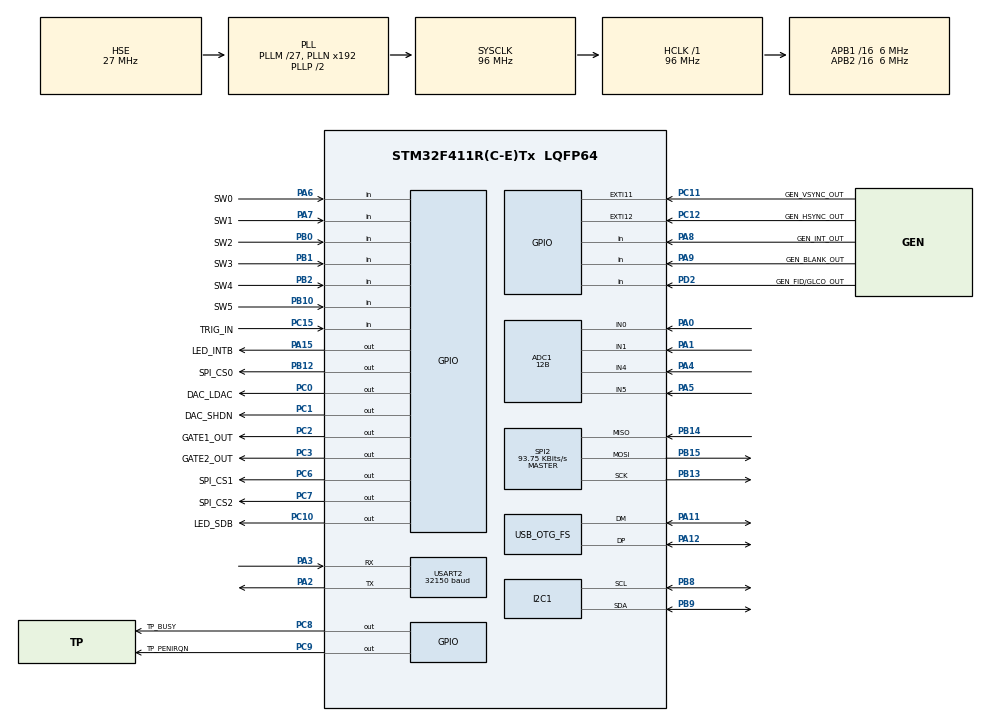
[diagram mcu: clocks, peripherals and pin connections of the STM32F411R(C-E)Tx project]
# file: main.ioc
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ADC1.Channel-0\#ChannelRegularConversion=ADC_CHANNEL_0
ADC1.Channel-4\#ChannelRegularConversion=ADC_CHANNEL_1
ADC1.Channel-5\#ChannelRegularConversion=ADC_CHANNEL_4
ADC1.Channel-6\#ChannelRegularConversion=ADC_CHANNEL_5
ADC1.ClockPrescaler=ADC_CLOCK_SYNC_PCLK_DIV8
ADC1.ContinuousConvMode=ENABLE
ADC1.DMAContinuousRequests=DISABLE
ADC1.DataAlign=ADC_DATAALIGN_RIGHT
ADC1.DiscontinuousConvMode=DISABLE
ADC1.EOCSelection=ADC_EOC_SINGLE_CONV
ADC1.EnableAnalogWatchDog=false
ADC1.ExternalTrigConv=ADC_SOFTWARE_START
ADC1.ExternalTrigConvEdge=ADC_EXTERNALTRIGCONVEDGE_NONE
ADC1.InjNumberOfConversion=0
ADC1.NbrOfConversion=4
ADC1.NbrOfConversionFlag=1
ADC1.Rank-0\#ChannelRegularConversion=1
ADC1.Rank-4\#ChannelRegularConversion=2
ADC1.Rank-5\#ChannelRegularConversion=3
ADC1.Rank-6\#ChannelRegularConversion=4
ADC1.Resolution=ADC_RESOLUTION_12B
ADC1.SamplingTime-0\#ChannelRegularConversion=ADC_SAMPLETIME_480CYCLES
ADC1.SamplingTime-4\#ChannelRegularConversion=ADC_SAMPLETIME_480CYCLES
ADC1.SamplingTime-5\#ChannelRegularConversion=ADC_SAMPLETIME_480CYCLES
ADC1.SamplingTime-6\#ChannelRegularConversion=ADC_SAMPLETIME_480CYCLES
ADC1.ScanConvMode=ENABLE
ADC1.master=1
I2C1.I2C_Mode=I2C_Fast
Mcu.Family=STM32F4
Mcu.Name=STM32F411R(C-E)Tx
Mcu.Package=LQFP64
NVIC.EXTI15_10_IRQn=true\:1\:0\:true\:true\:true\:1\:true
NVIC.OTG_FS_IRQn=true\:0\:0\:false\:true\:true\:2\:false
NVIC.PriorityGroup=NVIC_PRIORITYGROUP_4
PA0-WKUP.Signal=ADCx_IN0
PA1.Signal=ADCx_IN1
PA11.Mode=Device_Only
PA11.Signal=USB_OTG_FS_DM
PA12.Mode=Device_Only
PA12.Signal=USB_OTG_FS_DP
PA13.Mode=Trace_Asynchronous_SW
PA13.Signal=SYS_JTMS-SWDIO
PA14.Mode=Trace_Asynchronous_SW
PA14.Signal=SYS_JTCK-SWCLK
PA15.GPIO_Label=LED_INTB
PA15.Signal=GPIO_Output
PA2.Mode=Asynchronous
PA2.Signal=USART2_TX
PA3.Mode=Asynchronous
PA3.Signal=USART2_RX
PA4.Signal=ADCx_IN4
PA5.Signal=ADCx_IN5
PA6.GPIO_Label=SW0
PA6.GPIO_PuPd=GPIO_PULLUP
PA6.Signal=GPIO_Input
PA7.GPIO_Label=SW1
PA7.GPIO_PuPd=GPIO_PULLUP
PA7.Signal=GPIO_Input
PA8.GPIO_Label=GEN_INT_OUT
PA8.Signal=GPIO_Input
PA9.GPIO_Label=GEN_BLANK_OUT
PA9.Signal=GPIO_Input
PB0.GPIO_Label=SW2
PB0.GPIO_PuPd=GPIO_PULLUP
PB0.Signal=GPIO_Input
PB1.GPIO_Label=SW3
PB1.GPIO_PuPd=GPIO_PULLUP
PB1.Signal=GPIO_Input
PB10.GPIO_Label=SW5
PB10.GPIO_PuPd=GPIO_PULLUP
PB10.Signal=GPIO_Input
PB12.GPIO_Label=SPI_CS0
PB12.GPIO_Speed=GPIO_SPEED_FREQ_HIGH
PB12.PinState=GPIO_PIN_RESET
PB12.Signal=GPIO_Output
PB13.GPIO_PuPd=GPIO_NOPULL
PB13.Mode=Full_Duplex_Master
PB13.Signal=SPI2_SCK
PB14.GPIO_PuPd=GPIO_NOPULL
PB14.Mode=Full_Duplex_Master
PB14.Signal=SPI2_MISO
PB15.GPIO_PuPd=GPIO_NOPULL
PB15.Mode=Full_Duplex_Master
PB15.Signal=SPI2_MOSI
PB2.GPIO_Label=SW4
PB2.GPIO_PuPd=GPIO_PULLUP
PB2.Signal=GPIO_Input
PB3.Mode=Trace_Asynchronous_SW
PB3.Signal=SYS_JTDO-SWO
PB8.GPIO_PuPdOD=GPIO_NOPULL
PB8.Mode=I2C
PB8.Signal=I2C1_SCL
PB9.GPIO_PuPdOD=GPIO_NOPULL
PB9.Mode=I2C
PB9.Signal=I2C1_SDA
PC0.GPIO_Label=DAC_LDAC
PC0.Signal=GPIO_Output
PC1.GPIO_Label=DAC_SHDN
PC1.Signal=GPIO_Output
PC10.GPIO_Label=LED_SDB
PC10.Signal=GPIO_Output
PC11.GPIO_Label=GEN_VSYNC_OUT
PC11.GPIO_ModeDefaultEXTI=GPIO_MODE_IT_FALLING
PC11.Signal=GPXTI11
PC12.GPIO_Label=GEN_HSYNC_OUT
PC12.GPIO_ModeDefaultEXTI=GPIO_MODE_IT_FALLING
PC12.Signal=GPXTI12
PC15-OSC32_OUT.GPIO_Label=TRIG_IN
PC15-OSC32_OUT.Signal=GPIO_Input
PC2.GPIO_Label=GATE1_OUT
PC2.Signal=GPIO_Output
PC3.GPIO_Label=GATE2_OUT
PC3.Signal=GPIO_Output
PC6.GPIO_Label=SPI_CS1
PC6.GPIO_Speed=GPIO_SPEED_FREQ_HIGH
PC6.PinState=GPIO_PIN_RESET
PC6.Signal=GPIO_Output
PC7.GPIO_Label=SPI_CS2
PC7.GPIO_Speed=GPIO_SPEED_FREQ_HIGH
PC7.PinState=GPIO_PIN_RESET
PC7.Signal=GPIO_Output
PC8.GPIO_Label=TP_BUSY
PC8.GPIO_ModeDefaultOutputPP=GPIO_MODE_OUTPUT_PP
PC8.GPIO_Speed=GPIO_SPEED_FREQ_HIGH
PC8.PinState=GPIO_PIN_RESET
PC8.Signal=GPIO_Output
PC9.GPIO_Label=TP_PENIRQN
PC9.GPIO_Speed=GPIO_SPEED_FREQ_HIGH
PC9.Signal=GPIO_Output
PD2.GPIO_Label=GEN_FID/GLCO_OUT
PD2.Signal=GPIO_Input
PH0\ -\ OSC_IN.Mode=HSE-External-Clock-Source
PH0\ -\ OSC_IN.Signal=RCC_OSC_IN
PH1\ -\ OSC_OUT.Mode=HSE-External-Clock-Source
PH1\ -\ OSC_OUT.Signal=RCC_OSC_OUT
ProjectManager.HeapSize=0x200
ProjectManager.StackSize=0x400
ProjectManager.TargetToolchain=Other Toolchains (GPDSC)
RCC.48MHZClocksFreq_Value=48000000
RCC.AHBFreq_Value=96000000
RCC.APB1CLKDivider=RCC_HCLK_DIV16
RCC.APB1Freq_Value=6000000
RCC.APB1TimFreq_Value=12000000
RCC.APB2CLKDivider=RCC_HCLK_DIV16
RCC.APB2Freq_Value=6000000
RCC.APB2TimFreq_Value=12000000
RCC.CortexFreq_Value=96000000
RCC.HCLKFreq_Value=96000000
RCC.HSE_Timout=100000
RCC.HSE_VALUE=27000000
RCC.HSI_VALUE=16000000
RCC.LSEState=RCC_LSE_BYPASS
RCC.LSE_VALUE=32768
RCC.PLLM=27
RCC.RCC_TIM_PRescaler_Selection=RCC_TIMPRES_DESACTIVATED
RCC.SYSCLKFreq_VALUE=96000000
RCC.SYSCLKSource=RCC_SYSCLKSOURCE_PLLCLK
RCC.VCOOutputFreq_Value=192000000
SH.ADCx_IN0.0=ADC1_IN0,IN0
SH.ADCx_IN1.0=ADC1_IN1,IN1
SH.ADCx_IN4.0=ADC1_IN4,IN4
SH.ADCx_IN5.0=ADC1_IN5,IN5
SPI2.BaudRatePrescaler=SPI_BAUDRATEPRESCALER_64
SPI2.CLKPhase=SPI_PHASE_2EDGE
SPI2.CLKPolarity=SPI_POLARITY_HIGH
SPI2.CalculateBaudRate=93.75 KBits/s
SPI2.Direction=SPI_DIRECTION_2LINES
SPI2.Mode=SPI_MODE_MASTER
SPI2.VirtualType=VM_MASTER
USART2.BaudRate=32150
USART2.Mode=MODE_TX
USART2.VirtualMode=VM_ASYNC
USB_DEVICE.CLASS_NAME_FS=DFU
USB_DEVICE.VirtualMode=Dfu
USB_DEVICE.VirtualModeFS=Dfu_FS
USB_OTG_FS.VirtualMode=Device_Only
VP_USB_DEVICE_VS_USB_DEVICE_DFU_FS.Mode=DFU_FS
board=custom

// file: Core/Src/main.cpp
/**
  ******************************************************************************
  * @file           : main.c
  * @brief          : Main program body
  ******************************************************************************
  * This notice applies to any and all portions of this file
  * that are not between comment pairs USER CODE BEGIN and
  * USER CODE END. Other portions of this file, whether
  * inserted by the user or by software development tools
  * are owned by their respective copyright owners.
  *
  * Copyright (c) 2018 STMicroelectronics International N.V.
  * All rights reserved.
  *
  * Redistribution and use in source and binary forms, with or without
  * modification, are permitted, provided that the following conditions are met:
  *
  * 1. Redistribution of source code must retain the above copyright notice,
  *    this list of conditions and the following disclaimer.
  * 2. Redistributions in binary form must reproduce the above copyright notice,
  *    this list of conditions and the following disclaimer in the documentation
  *    and/or other materials provided with the distribution.
  * 3. Neither the name of STMicroelectronics nor the names of other
  *    contributors to this software may be used to endorse or promote products
  *    derived from this software without specific written permission.
  * 4. This software, including modifications and/or derivative works of this
  *    software, must execute solely and exclusively on microcontroller or
  *    microprocessor devices manufactured by or for STMicroelectronics.
  * 5. Redistribution and use of this software other than as permitted under
  *    this license is void and will automatically terminate your rights under
  *    this license.
  *
  * THIS SOFTWARE IS PROVIDED BY STMICROELECTRONICS AND CONTRIBUTORS "AS IS"
  * AND ANY EXPRESS, IMPLIED OR STATUTORY WARRANTIES, INCLUDING, BUT NOT
  * LIMITED TO, THE IMPLIED WARRANTIES OF MERCHANTABILITY, FITNESS FOR A
  * PARTICULAR PURPOSE AND NON-INFRINGEMENT OF THIRD PARTY INTELLECTUAL PROPERTY
  * RIGHTS ARE DISCLAIMED TO THE FULLEST EXTENT PERMITTED BY LAW. IN NO EVENT
  * SHALL STMICROELECTRONICS OR CONTRIBUTORS BE LIABLE FOR ANY DIRECT, INDIRECT,
  * INCIDENTAL, SPECIAL, EXEMPLARY, OR CONSEQUENTIAL DAMAGES (INCLUDING, BUT NOT
  * LIMITED TO, PROCUREMENT OF SUBSTITUTE GOODS OR SERVICES; LOSS OF USE, DATA,
  * OR PROFITS; OR BUSINESS INTERRUPTION) HOWEVER CAUSED AND ON ANY THEORY OF
  * LIABILITY, WHETHER IN CONTRACT, STRICT LIABILITY, OR TORT (INCLUDING
  * NEGLIGENCE OR OTHERWISE) ARISING IN ANY WAY OUT OF THE USE OF THIS SOFTWARE,
  * EVEN IF ADVISED OF THE POSSIBILITY OF SUCH DAMAGE.
  *
  ******************************************************************************
  */

#include "main.h"
#include "stm32f4xx_hal.h"
#include "adc.h"
#include "i2c.h"
#include "spi.h"
#include "usart.h"
#include "usb_device.h"
#include "gpio.h"

/* USER CODE BEGIN Includes */

#include <math.h>
#include <string>
#include "eeprom.h"
#include <stdio.h>
#include "calibrate.h"

/* USER CODE END Includes */

/* USER CODE BEGIN PV */
/* Private variables ---------------------------------------------------------*/
#define DEBUG 0
#define TOUCHPANEL_X_RESISTANCE_MIN 290
#define TOUCHPANEL_X_RESISTANCE_MAX 530
#define TOUCHPANEL_Y_RESISTANCE_MIN 500
#define TOUCHPANEL_Y_RESISTANCE_MAX 930
#define MAIN_DEBUG 1
#define POTENTIOMETER_ADC_MAX 2898
#define IS32FL3738_ADDRESS_A 0x50 << 1
#define IS32FL3738_ADDRESS_B 0x5F << 1
#define IS32FL3738_ADDRESS_C 0x55 << 1
#define IS32FL3738_ADDRESS_D 0x5A << 1
#define IS32FL3738_NUM_LEDS	48
#define DISPLAY_NUM_LEDS (IS32FL3738_NUM_LEDS*4)
#define DISPLAY_WIDTH	96
#define DISPLAY_HEIGHT	72
#define SAMPLE_BUFFER_SIZE 4096*4

#define TOUCHPANEL_THRESHOLD 750
#define TOUCHPANEL_BOUNDS_X_MIN 450
#define TOUCHPANEL_BOUNDS_X_MAX 3945
#define TOUCHPANEL_BOUNDS_Y_MIN 450
#define TOUCHPANEL_BOUNDS_Y_MAX 3714
#define	MAX_CAL_SAMPLES 3

enum
{
	kSensitivity       = 0,
	kPlaybackSpeed,
	kGateThreshold,
	kSmoothing,
	NUM_POTENTIOMETERS
}
;

enum
{
	kRecord     = 0,
	kGate1,
	kConstrain,
	kGate2,
	kPlay,
	kLoop,
	kTriggerIn,
	NUM_BUTTONS
};

enum
{
	kGate2Out = 0,
	kGate1Out,
	NUM_GATES
};

enum
{
	kXOut        = 0,
	kYOut,
	kVelocityOut,
	kPressureOut,
	NUM_DACS
};

enum
{
	kVar1    = 0,
	kVar2,
	kVar3,
	kVar4,
	NUM_VARS
};

struct PotentiometerConfig
{
	std::string name;
	uint16_t value;
};

struct ButtonConfig
{
	std::string name;
	uint8_t value;
	uint8_t last;
	uint8_t rising;
	uint8_t falling;
};

struct GateConfig
{
	std::string name;
	uint8_t value;
	uint8_t last;
};

struct DACConfig
{
	std::string name;
	uint16_t value;
};

struct VarConfig
{
	std::string name;
	uint32_t address;
	uint32_t value;
};

struct TouchpanelData
{
	uint16_t x;
	uint16_t y;
	uint16_t z1;
	uint16_t z2;
	uint16_t pressure;
};

struct LEDConfig
{
	uint8_t brightness;
	uint8_t lastBrightness;
};

struct XYZPoint
{
	uint16_t x;
	uint16_t y;
	uint16_t z;
};

PotentiometerConfig pots[NUM_POTENTIOMETERS] = {
	{ "Sensitivity", 0 },
	{ "Gate Threshold", 0 },
	{ "Smoothing", 0 },
	{ "Playback Speed", 0 }
};

ButtonConfig buttons[NUM_BUTTONS] = {
	{ "Record", 0 },
	{ "Gate 1", 0 },
	{ "Constrain", 0 },
	{ "Gate2", 0 },
	{ "Play", 0 },
	{ "Loop", 0 },
	{ "Trigger In", 0 }
};

GateConfig gates[NUM_GATES] = {
	{ "Gate 2 Out", 0 },
	{ "Gate 1 Out", 0 }
};

DACConfig dacs[NUM_DACS] = {
	{ "X Out", 0 },
	{ "Y Out", 0 },
	{ "Velocity Out", 0 },
	{ "Pressure Out", 0 }
};

VarConfig vars[NUM_VARS] = {
	{ "Var 1", 100 },
	{ "Var 2", 200 },
	{ "Var 3", 300 },
	{ "Var 4", 400 }
};

TouchpanelData touchpanel;
ADC_HandleTypeDef hadc1;
I2C_HandleTypeDef hi2c1;
SPI_HandleTypeDef hspi2;
UART_HandleTypeDef huart2;
XYZPoint point;
XYZPoint lastpoint;
XYZPoint samples[SAMPLE_BUFFER_SIZE];

LEDConfig leds[192];
uint8_t i2cData[2];
uint32_t sample_end;
uint32_t sample_counter;
uint32_t sample_counter_hires;
uint8_t playback=0;
uint8_t loop = 0;
uint8_t cutin = 0;
uint8_t recording=0;
uint8_t pentouch = 0;
double lastdistance;
double newdistance;
uint32_t tempx_filtered;
uint32_t tempy_filtered;
uint32_t tempx[6];
uint32_t tempy[6];
uint32_t tempz1[6];
uint32_t tempz2[6];

uint8_t constrainmode;

uint32_t sample_x;
uint32_t sample_y;
uint32_t sample_z1;
uint32_t sample_z2;

uint16_t CalX1;
uint16_t CalY1;
uint16_t CalZ1;
uint16_t CalX2;
uint16_t CalY2;
uint16_t CalZ2;
uint16_t CalX3;
uint16_t CalY3;
uint16_t CalZ3;

int32_t rtouch;

uint32_t lastmidipointx;
uint32_t lastmidipointy;
uint32_t lastmidipointz;

uint32_t velocity;
uint32_t lastvelocity;

//uint32_t VirtAddVarTab[NB_OF_VAR] = { 0x111, 0x222, 0x333, 0x555, 0x666, 0x777, 0x888, 0x999, 0xAAA };
uint32_t VirtAddVarTab[NB_OF_VAR] = { 0x1111, 0x2222, 0x3333, 0x5555, 0x6666, 0x7777 };
uint8_t fsync_event = 0;
uint8_t vsync_event = 0;
uint8_t hsync_event = 0;
uint32_t idlecounter = 0;
uint32_t dactestcnt = 0;

POINT perfectDisplaySample[MAX_CAL_SAMPLES] = {
	{ 0, 1023 },
	{ 1023, 0 },
	{ 0, 0 }
	//{ 63, 1023-64 },
	//{ 1023-64, 63 },
	//{ 1023 - 64, 1023 - 64 }
};

POINT perfectScreenSample[MAX_CAL_SAMPLES] = {
	{ perfectDisplaySample[0].x, perfectDisplaySample[0].y },
	{ perfectDisplaySample[1].x, perfectDisplaySample[1].y },
	{ perfectDisplaySample[2].x, perfectDisplaySample[2].y },
};

POINT calDisplaySample[MAX_CAL_SAMPLES] = {
	{ perfectDisplaySample[0].x, perfectDisplaySample[0].y },
	{ perfectDisplaySample[1].x, perfectDisplaySample[1].y },
	{ perfectDisplaySample[2].x, perfectDisplaySample[2].y },
};

POINT calScreenSample[MAX_CAL_SAMPLES] = {
	{ perfectDisplaySample[0].x, perfectDisplaySample[0].y },
	{ perfectDisplaySample[1].x, perfectDisplaySample[1].y },
	{ perfectDisplaySample[2].x, perfectDisplaySample[2].y },
};

MATRIX  calmatrix;

static const uint8_t display_address[4] = { IS32FL3738_ADDRESS_A, IS32FL3738_ADDRESS_B, IS32FL3738_ADDRESS_C, IS32FL3738_ADDRESS_D };

static const uint8_t display_pwm_startreg[48] = {
	0x00,
	0x20,
	0x40,
	0x60,
	0x80,
	0xA0,
	0x02,
	0x22,
	0x42,
	0x62,
	0x82,
	0xA2,
	0x04,
	0x24,
	0x44,
	0x64,
	0x84,
	0xA4,
	0x06,
	0x26,
	0x46,
	0x66,
	0x86,
	0xA6,
	0x08,
	0x28,
	0x48,
	0x68,
	0x88,
	0xA8,
	0x0A,
	0x2A,
	0x4A,
	0x6A,
	0x8A,
	0xAA,
	0x0C,
	0x2C,
	0x4C,
	0x6C,
	0x8C,
	0xAC,
	0x0E,
	0x2E,
	0x4E,
	0x6E,
	0x8E,
	0xAE
};

static const uint8_t displayledonreg[24] = {
	0x00,
	0x04,
	0x08,
	0x0C,
	0x10,
	0x14,
	0x01,
	0x05,
	0x09,
	0x0D,
	0x11,
	0x15
};

static const uint8_t gamma8[256] = {
	0,
	0,
	0,
	0,
	0,
	0,
	0,
	0,
	0,
	0,
	0,
	0,
	0,
	0,
	0,
	0,
	0,
	0,
	0,
	0,
	0,
	0,
	0,
	0,
	0,
	0,
	0,
	0,
	1,
	1,
	1,
	1,
	1,
	1,
	1,
	1,
	1,
	1,
	1,
	1,
	1,
	2,
	2,
	2,
	2,
	2,
	2,
	2,
	2,
	3,
	3,
	3,
	3,
	3,
	3,
	3,
	4,
	4,
	4,
	4,
	4,
	5,
	5,
	5,
	5,
	6,
	6,
	6,
	6,
	7,
	7,
	7,
	7,
	8,
	8,
	8,
	9,
	9,
	9,
	10,
	10,
	10,
	11,
	11,
	11,
	12,
	12,
	13,
	13,
	13,
	14,
	14,
	15,
	15,
	16,
	16,
	17,
	17,
	18,
	18,
	19,
	19,
	20,
	20,
	21,
	21,
	22,
	22,
	23,
	24,
	24,
	25,
	25,
	26,
	27,
	27,
	28,
	29,
	29,
	30,
	31,
	32,
	32,
	33,
	34,
	35,
	35,
	36,
	37,
	38,
	39,
	39,
	40,
	41,
	42,
	43,
	44,
	45,
	46,
	47,
	48,
	49,
	50,
	50,
	51,
	52,
	54,
	55,
	56,
	57,
	58,
	59,
	60,
	61,
	62,
	63,
	64,
	66,
	67,
	68,
	69,
	70,
	72,
	73,
	74,
	75,
	77,
	78,
	79,
	81,
	82,
	83,
	85,
	86,
	87,
	89,
	90,
	92,
	93,
	95,
	96,
	98,
	99,
	101,
	102,
	104,
	105,
	107,
	109,
	110,
	112,
	114,
	115,
	117,
	119,
	120,
	122,
	124,
	126,
	127,
	129,
	131,
	133,
	135,
	137,
	138,
	140,
	142,
	144,
	146,
	148,
	150,
	152,
	154,
	156,
	158,
	160,
	162,
	164,
	167,
	169,
	171,
	173,
	175,
	177,
	180,
	182,
	184,
	186,
	189,
	191,
	193,
	196,
	198,
	200,
	203,
	205,
	208,
	210,
	213,
	215,
	218,
	220,
	223,
	225,
	228,
	231,
	233,
	236,
	239,
	241,
	244,
	247,
	249,
	252,
	255
};
/* USER CODE END PV */

void SystemClock_Config(void);
static void MX_NVIC_Init(void);

/* USER CODE BEGIN PFP */
/* Private function prototypes -----------------------------------------------*/

void Display_Init(void);
void Pots_Poll(void);
void Buttons_Poll(void);
void Touchpanel_Poll(void);
void Touchpanel_Calibration_Init(void);
void StartupAnimation(void);
void Display_Refresh(void);
void Gates_Refresh(void);
void DAC_Refresh(void);
void Display_BlinkOn(void);
void Display_BlinkOff(void);
void Display_Crosshair(uint32_t TargetX, uint32_t TargetY, uint32_t Span);
void I2C_WriteRegister(uint32_t address, uint8_t byte1, uint8_t byte2);
void Calculate_Smoothing(void);
void Calculate_Sensitivity(void);
void TVP5150AM1_Setup(void);
void MIDI_CC_HiRes_Transmit(uint8_t channel, uint8_t ctrlchange, uint32_t value);
void MIDI_CC_Transmit(uint8_t channel, uint8_t ctrlchange, uint32_t value);
void MIDI_NoteOn_Transmit(uint8_t channel, uint8_t note, uint8_t velocity);
void MIDI_NoteOff_Transmit(uint8_t channel, uint8_t note, uint8_t velocity);

/* USER CODE END PFP */

int main(void)
{

	/* MCU Configuration----------------------------------------------------------*/

	/* Reset of all peripherals, Initializes the Flash interface and the Systick. */
	HAL_Init();

	/* USER CODE BEGIN Init */
	HAL_Delay(200);
	/* USER CODE END Init */

	/* Configure the system clock */
	SystemClock_Config();

	/* Initialize all configured peripherals */
	MX_GPIO_Init();
	MX_ADC1_Init();
	MX_I2C1_Init();
	MX_SPI2_Init();
	MX_USART2_UART_Init();
	MX_USB_DEVICE_Init();

	 /* Initialize interrupts */
            	MX_NVIC_Init();
	/* USER CODE BEGIN 2 */

	//Initialize infinity mirror display
	Display_Init();

	//Unlock flash and initialize EEPROM emulation
	//HAL_FLASH_Unlock();
	//uint32_t status;
	//status = EE_Init();

	//Initialize touchpanel calibration
	Touchpanel_Calibration_Init();

	StartupAnimation();

	touchpanel.x = 0;
	touchpanel.y = 0;
	TVP5150AM1_Setup();
	/* USER CODE END 2 */

	/* Infinite loop */
	/* USER CODE BEGIN WHILE */
	while (1)
	{
		if (fsync_event>=1)
		{
			fsync_event = 0;
			idlecounter = 0;
			if (DEBUG)
			{
				gates[kGate1Out].value = 1;
			}
			Gates_Refresh();

			DAC_Refresh();

			//Polling
			Pots_Poll();
			Buttons_Poll();
			Touchpanel_Poll();
			//Calculate_Sensitivity();
			if (buttons[kConstrain].value)
			{
				if (buttons[kConstrain].rising)
				{
					int32_t xdist = (lastpoint.x - touchpanel.x);
					int32_t ydist = (lastpoint.y - touchpanel.y);
					if (xdist < 0)
					{
						xdist = -xdist;
					}
					if (ydist < 0)
					{
						ydist = -ydist;
					}

					if (xdist >= ydist)
					{
						constrainmode = 1;
					}
					else
					{
						constrainmode = 0;
					}
					buttons[kConstrain].rising = 0;
				}
				if (constrainmode)
				{
					touchpanel.y = lastpoint.y;
				}
				else
				{
					touchpanel.x = lastpoint.x;
				}
			}

			//Process button events
			if(buttons[kPlay].rising)
			{
				if (playback)
				{
					playback = 0;
					touchpanel.x = samples[sample_counter].x;
					touchpanel.y = samples[sample_counter].y;
					touchpanel.pressure = samples[sample_counter].z;
				}
				else
				{
					//sample_counter = 0;
					sample_counter_hires = 0;
					playback = 1;
					recording = 0;

				}
				buttons[kPlay].rising = 0;
			}

			if (buttons[kTriggerIn].rising)
			{
				sample_counter_hires = 0;
				playback = 1;
				recording = 0;
				buttons[kTriggerIn].rising = 0;
			}

			if (buttons[kLoop].rising)
			{
				if (loop)
				{
					loop = 0;
				}
				else
				{
					loop = 1;
				}
				buttons[kLoop].rising = 0;
			}

			if (buttons[kRecord].rising)
			{
				if (!playback)
				{
					cutin = 0;
					//sample_counter = 0;
					sample_counter_hires = 0;
				}
				else
				{
					cutin = 1;
				}
				recording = 1;
				playback = 0;
				buttons[kRecord].rising = 0;
			}
			else if (buttons[kRecord].falling)
			{
				recording = 0;
				if (!cutin)
				{

					sample_end = sample_counter - 1;
					//sample_counter = 0;
					sample_counter_hires = 0;
				}
				else
				{
					playback = 1;
				}

				buttons[kRecord].falling = 0;
			}

			//Assign points
			sample_counter = sample_counter_hires >> 11;
			if (playback)
			{
				uint32_t interpolation_coeff = sample_counter_hires % 2048;
				point.x = ((samples[sample_counter].x * (interpolation_coeff)) + (samples[(sample_end + sample_counter - 1) % sample_end].x * (2047 - interpolation_coeff))) >> 11;
				point.y = ((samples[sample_counter].y * (interpolation_coeff)) + (samples[(sample_end + sample_counter - 1) % sample_end].y * (2047 - interpolation_coeff))) >> 11;
				point.z = ((samples[sample_counter].z * (interpolation_coeff)) + (samples[(sample_end + sample_counter - 1) % sample_end].z * (2047 - interpolation_coeff))) >> 11;
				sample_counter_hires += (256 + pots[kPlaybackSpeed].value);
				if (sample_counter_hires > (sample_end << 11))
				{
					if (loop)
					{
						sample_counter_hires = sample_counter_hires % (sample_end << 11);
					}
					else
					{
						playback = 0;
					}
				}
			}
			else if (recording && sample_counter < SAMPLE_BUFFER_SIZE)
			{
				point.x = touchpanel.x;
				point.y = touchpanel.y;
				point.z = touchpanel.pressure;
				samples[sample_counter].x = touchpanel.x;
				samples[sample_counter].y = touchpanel.y;
				samples[sample_counter].z = touchpanel.pressure;
				if (cutin)
				{
					sample_counter_hires += 2048;
					if (sample_counter_hires > (sample_end << 11))
					{
						sample_counter_hires = sample_counter_hires % (sample_end << 11);
					}
				}
				else
				{
					sample_counter_hires += 2048;
				}
			}
			else
			{
				point.x = touchpanel.x;
				point.y = touchpanel.y;
				point.z = touchpanel.pressure;
			}

			Calculate_Smoothing();

			uint8_t pressuregate = 0;
			if (point.z > pots[kGateThreshold].value)
			{
				pressuregate = 1;
			}

			//Assign outputs

			dacs[kXOut].value = (uint16_t)4095&point.x;
			dacs[kYOut].value = (uint16_t)4095&point.y;

			dacs[kPressureOut].value = (uint16_t)4095&point.z;
			//dacs[kVelocityOut].value =  4095&(uint32_t)lastdistance;
			if(velocity > 4095)
			{
				velocity = 4095;
			}
			dacs[kVelocityOut].value =  (uint32_t)velocity;
			gates[kGate1Out].value = buttons[kGate1].value;
			gates[kGate2Out].value = pressuregate ^ buttons[kGate2].value;

			//Refresh
			Display_Crosshair(point.x, point.y, ((point.z*4)>>12)+1);
			Display_Refresh();

			if (point.x != lastmidipointx)
			{
				MIDI_CC_HiRes_Transmit(0, 10, point.x);
				//MIDI_CC_Transmit(0, 10, point.x);
				lastmidipointx = point.x;
			}
			if (point.y != lastmidipointy)
			{
				MIDI_CC_HiRes_Transmit(0, 11, point.y);
				//MIDI_CC_Transmit(0, 11, point.y);
				lastmidipointy = point.y;
			}
			if (point.z != lastmidipointz)
			{
				MIDI_CC_HiRes_Transmit(0, 12, point.z);
				//MIDI_CC_Transmit(0, 12, point.z);
				lastmidipointz = point.z;
			}

			if (gates[kGate1Out].value && !gates[kGate1Out].last)
			{
				MIDI_NoteOn_Transmit(0, 63, 0xFF);
			}
			else if (!gates[kGate1Out].value && gates[kGate1Out].last)
			{
				MIDI_NoteOn_Transmit(0, 63, 0x00);
			}
			if (gates[kGate2Out].value && !gates[kGate2Out].last)
			{
				MIDI_NoteOn_Transmit(0, 64, 0xFF);
			}
			else if (!gates[kGate2Out].value && gates[kGate2Out].last)
			{
				MIDI_NoteOn_Transmit(0, 64, 0x00);
			}

			gates[kGate1Out].last = gates[kGate1Out].value;
			gates[kGate2Out].last = gates[kGate2Out].value;
			if (DEBUG)
			{
				gates[kGate1Out].value = 0;
				Gates_Refresh();
			}

			/* USER CODE END WHILE */

		}
	}
}

void SystemClock_Config(void)
{

	RCC_OscInitTypeDef RCC_OscInitStruct;
	RCC_ClkInitTypeDef RCC_ClkInitStruct;

	/**Configure the main internal regulator output voltage
	*/
	__HAL_RCC_PWR_CLK_ENABLE();

	__HAL_PWR_VOLTAGESCALING_CONFIG(PWR_REGULATOR_VOLTAGE_SCALE1);

	/**Initializes the CPU, AHB and APB busses clocks
	*/
	RCC_OscInitStruct.OscillatorType = RCC_OSCILLATORTYPE_HSE;
	RCC_OscInitStruct.HSEState = RCC_HSE_BYPASS;
	RCC_OscInitStruct.PLL.PLLState = RCC_PLL_ON;
	RCC_OscInitStruct.PLL.PLLSource = RCC_PLLSOURCE_HSE;
	RCC_OscInitStruct.PLL.PLLM = 27;
	RCC_OscInitStruct.PLL.PLLN = 192;
	RCC_OscInitStruct.PLL.PLLP = RCC_PLLP_DIV2;
	RCC_OscInitStruct.PLL.PLLQ = 4;
	if (HAL_RCC_OscConfig(&RCC_OscInitStruct) != HAL_OK)
	{
		_Error_Handler(__FILE__, __LINE__);
	}

	/**Initializes the CPU, AHB and APB busses clocks
	*/
	RCC_ClkInitStruct.ClockType = RCC_CLOCKTYPE_HCLK | RCC_CLOCKTYPE_SYSCLK
	                            | RCC_CLOCKTYPE_PCLK1 | RCC_CLOCKTYPE_PCLK2;
	RCC_ClkInitStruct.SYSCLKSource = RCC_SYSCLKSOURCE_PLLCLK;
	RCC_ClkInitStruct.AHBCLKDivider = RCC_SYSCLK_DIV1;
	RCC_ClkInitStruct.APB1CLKDivider = RCC_HCLK_DIV16;
	RCC_ClkInitStruct.APB2CLKDivider = RCC_HCLK_DIV16;

	if (HAL_RCC_ClockConfig(&RCC_ClkInitStruct, FLASH_LATENCY_3) != HAL_OK)
	{
		_Error_Handler(__FILE__, __LINE__);
	}

	/**Configure the Systick interrupt time
	*/
	HAL_SYSTICK_Config(HAL_RCC_GetHCLKFreq() / 1000);

	/**Configure the Systick
	*/
	HAL_SYSTICK_CLKSourceConfig(SYSTICK_CLKSOURCE_HCLK);

	/* SysTick_IRQn interrupt configuration */
	HAL_NVIC_SetPriority(SysTick_IRQn, 0, 0);
}

/**
  * @brief NVIC Configuration.
  * @retval None
  */
static void MX_NVIC_Init(void)
{
	/* EXTI15_10_IRQn interrupt configuration */
	HAL_NVIC_SetPriority(EXTI15_10_IRQn, 1, 0);
	HAL_NVIC_EnableIRQ(EXTI15_10_IRQn);
	/* OTG_FS_IRQn interrupt configuration */
	HAL_NVIC_SetPriority(OTG_FS_IRQn, 0, 0);
	HAL_NVIC_EnableIRQ(OTG_FS_IRQn);
}

/* USER CODE BEGIN 4 */

void TVP5150AM1_Setup(void)
{
	uint8_t decoder_address = 0xBA; //I2CSEL = HIGH
	I2C_WriteRegister(decoder_address, 0x03, 0b00000101); // Enable sync outputs
	I2C_WriteRegister(decoder_address, 0x0F, 0b00000000); // Enable FID output/Disable GLCO output
}

void MIDI_CC_HiRes_Transmit(uint8_t channel, uint8_t ctrlchange, uint32_t value)
{

	uint8_t buffer[] = { 0xB0 | (channel & 0xF), ctrlchange & 127, (value >> 5) & 127, 0xB0 | (channel & 0xF), (ctrlchange+32) & 127, (value << 2) & 127 };
	HAL_UART_Transmit(&huart2, buffer, sizeof(buffer), HAL_MAX_DELAY);
}

void MIDI_CC_Transmit(uint8_t channel, uint8_t ctrlchange, uint32_t value)
{

	uint8_t buffer[] = { 0xB0 | (channel & 0xF), ctrlchange & 127, (value >> 5) & 127 };
	HAL_UART_Transmit(&huart2, buffer, sizeof(buffer), HAL_MAX_DELAY);
}

void MIDI_NoteOn_Transmit(uint8_t channel, uint8_t note, uint8_t velocity)
{
	uint8_t buffer[3] = { (0x90) | (channel & 0xF), note & 127, velocity & 127 };
	HAL_UART_Transmit(&huart2, buffer, sizeof(buffer), HAL_MAX_DELAY);
}
void MIDI_NoteOff_Transmit(uint8_t channel, uint8_t note, uint8_t velocity)
{
	uint8_t buffer[3] = { (0x80) | (channel & 0xF), note & 127, velocity & 127 };
	HAL_UART_Transmit(&huart2, buffer, sizeof(buffer), HAL_MAX_DELAY);
}

void I2C_WriteRegister(uint32_t address, uint8_t byte1, uint8_t byte2)
{
	i2cData[0] = byte1;
	i2cData[1] = byte2;
	HAL_I2C_Master_Transmit(&hi2c1, address, i2cData, 2, 100);
}

void Touchpanel_Calibration_Init(void)
{

	/*Buttons_Poll();
	if (buttons[kGate1].value && buttons[kGate2].value)
	{
		setCalibrationMatrix(&perfectDisplaySample[0], &perfectScreenSample[0], &calmatrix);

		uint8_t lastpentouch = 0;
		uint8_t cal_stage = 0;
		uint32_t increment = 4095 >> 3;

		Display_BlinkOn();

		while (1)
		{
			switch (cal_stage)
			{

			case 0: Display_Crosshair(perfectDisplaySample[0].x << 2, perfectDisplaySample[0].y << 2, 1); break;
			case 1: Display_Crosshair(perfectDisplaySample[1].x << 2, perfectDisplaySample[1].y << 2, 1); break;
			case 2: Display_Crosshair(perfectDisplaySample[2].x << 2, perfectDisplaySample[2].y << 2, 1); break;
			}

			Display_Refresh();
			lastpentouch = pentouch;
			Touchpanel_Poll();

			if (pentouch == 0 && lastpentouch == 1)
			{
				cal_stage++;
			} else
			{
				switch (cal_stage)
				{
				case 0:	EE_WriteVariable(VirtAddVarTab[kEEPROM_X1], touchpanel.x);
					EE_WriteVariable(VirtAddVarTab[kEEPROM_Y1], touchpanel.y);
					//EE_WriteVariable(VirtAddVarTab[kEEPROM_Z1], (uint16_t)rtouch);
					break;
				case 1: EE_WriteVariable(VirtAddVarTab[kEEPROM_X2], touchpanel.x);
					EE_WriteVariable(VirtAddVarTab[kEEPROM_Y2], touchpanel.y);
					//EE_WriteVariable(VirtAddVarTab[kEEPROM_Z2], (uint16_t)rtouch);

					break;
				case 2: EE_WriteVariable(VirtAddVarTab[kEEPROM_X3], touchpanel.x);
					EE_WriteVariable(VirtAddVarTab[kEEPROM_Y3], touchpanel.y);
					//EE_WriteVariable(VirtAddVarTab[kEEPROM_Z3], (uint16_t)rtouch);

					break;
				}
			}

			if (cal_stage > 2)
			{
				Display_BlinkOff();
				break;
			}

		}
	}	*/

	//EE_ReadVariable(VirtAddVarTab[kEEPROM_X1], &CalX1);
	//EE_ReadVariable(VirtAddVarTab[kEEPROM_Y1], &CalY1);

	//EE_ReadVariable(VirtAddVarTab[kEEPROM_X2], &CalX2);
	//EE_ReadVariable(VirtAddVarTab[kEEPROM_Y2], &CalY2);

	//EE_ReadVariable(VirtAddVarTab[kEEPROM_X3], &CalX3);
	//EE_ReadVariable(VirtAddVarTab[kEEPROM_Y3], &CalY3);
	//EE_ReadVariable(VirtAddVarTab[kEEPROM_Z1], &CalZ1);
	//EE_ReadVariable(VirtAddVarTab[kEEPROM_Z2], &CalZ2);
	//EE_ReadVariable(VirtAddVarTab[kEEPROM_Z3], &CalZ3);

	CalX1 = 3800;
	CalY1 = 330;
	CalZ1 = 500;

	CalX2 = 260;
	CalY2 = 3650;
	CalZ2 = 2200;

	CalX3 = 3720;
	CalY3 = 3670;
	CalZ3 = 1280;

	calScreenSample[0].x = CalX1 >> 2;
	calScreenSample[0].y = CalY1 >> 2;
	calScreenSample[1].x = CalX2 >> 2;
	calScreenSample[1].y = CalY2 >> 2;
	calScreenSample[2].x = CalX3 >> 2;
	calScreenSample[2].y = CalY3 >> 2;

	setCalibrationMatrix(&perfectDisplaySample[0], &calScreenSample[0], &calmatrix);
}

void Display_Init()
{
	HAL_GPIO_WritePin(GPIOC, LED_SDB_Pin, GPIO_PIN_RESET);
	HAL_Delay(100);
	HAL_GPIO_WritePin(GPIOC, LED_SDB_Pin, GPIO_PIN_SET);

	for (int i = 0; i < 4; i++)
	{
		I2C_WriteRegister(display_address[i], 0xFE, 0XC5);   		//Unlock
		I2C_WriteRegister(display_address[i], 0xFD, 0X03);          //PG03 Configuration Registers
		if(i == 3) //Disable Software Shutdown and set to master mode
		{
			I2C_WriteRegister(display_address[i], 0x00, 0b01000011);
		} else	//Disable Software Shutdown and set to slave mode
		{
			I2C_WriteRegister(display_address[i], 0x00, 0b10000011);
		}

		I2C_WriteRegister(display_address[i], 0x01, 0x80);          //Global Current Register Set to 42mA.
		I2C_WriteRegister(display_address[i], 0x0F, 0x07);          //Enable De-ghosting 32k SWy Pullup
		I2C_WriteRegister(display_address[i], 0x10, 0x07);          //Enable De-ghosting 32k CSx Pulldown
		I2C_WriteRegister(display_address[i], 0xFE, 0XC5);          //Unlock
		I2C_WriteRegister(display_address[i], 0xFD, 0X00);          //PG00 LED on/off
		for(int j = 0 ; j < 24 ; j++)
		{
			I2C_WriteRegister(display_address[i], j, 0x00);             	//Turn all LEDs on
		}

		for (int j = 0; j < 192; j++)
		{
			leds[j].brightness = 0;
			leds[j].lastBrightness = 0;
		}
	}
	uint8_t curLED = 0;
	for (int i = 0; i < 4; i++)
	{
		I2C_WriteRegister(display_address[i], 0xFE, 0XC5);           		//Unlock
		I2C_WriteRegister(display_address[i], 0xFD, 0X01);              	//PG01 LED PWM
		for(int k = 0 ; k < 48 ; k++)
		{
			curLED = (48 * i) + k;
			I2C_WriteRegister(display_address[i], display_pwm_startreg[k], 255);
			I2C_WriteRegister(display_address[i], display_pwm_startreg[k] + 1, 255);
			I2C_WriteRegister(display_address[i], display_pwm_startreg[k] + 16, 255);
			I2C_WriteRegister(display_address[i], display_pwm_startreg[k] + 17, 255);
		}
		//if(i == 3) //Disable Software Shutdown and set to master mode
		//{
		//	I2C_WriteRegister(display_address[i], 0x00, 0b01000001);
		//	I2C_WriteRegister(display_address[i], 0x00, 0b01000011);
		//} else	//Disable Software Shutdown and set to slave mode
		//{
		//	I2C_WriteRegister(display_address[i], 0x00, 0b10000001);
		//	I2C_WriteRegister(display_address[i], 0x00, 0b10000011);
		//}
		//I2C_WriteRegister(display_address[i], 0x0E, 0x00);       //Update timing registers
	}
}

void Display_BlinkOn(void)
{
	for (uint32_t i = 0; i < 4; i++)
	{
		I2C_WriteRegister(display_address[i], 0xFE, 0xC5);             		//Unlock
		I2C_WriteRegister(display_address[i], 0xFD, 0x02);                	//PG02 ABM
		for(int k = 0 ; k < 192 ; k++)
		{
			I2C_WriteRegister(display_address[i], k, 0x01); 	//ABM-1
		}
		I2C_WriteRegister(display_address[i], 0xFE, 0xC5);     		//Unlock
		I2C_WriteRegister(display_address[i], 0xFD, 0x03);            //PG03 Configuration Registers
		I2C_WriteRegister(display_address[i], 0x02, 0b00100100);      //T1/T2 ABM-1 times
		I2C_WriteRegister(display_address[i], 0x03, 0b00100100);       //T3/T4 ABM-1 times
		I2C_WriteRegister(display_address[i], 0x04, 0b01110001);        //Timing modes
		I2C_WriteRegister(display_address[i], 0x05, 0b00000001);        //Loop time
	}
}

void Display_BlinkOff(void)
{
	for (uint32_t i = 0; i < 4; i++)
	{
		I2C_WriteRegister(display_address[i], 0xFE, 0xC5);              		//Unlock
		I2C_WriteRegister(display_address[i], 0xFD, 0x02);                 	//PG02 ABM
		for(int k = 0 ; k < 192 ; k++)
		{
			I2C_WriteRegister(display_address[i], k, 0x00);  	//ABM-1
		}
	}
}

void Display_Crosshair(uint32_t TargetX, uint32_t TargetY, uint32_t Span)
{
	for (int i = 0; i < 192; i++)
	{
		leds[i].brightness = 0;
	}
	/*uint32_t XStart = ((TargetX * DISPLAY_WIDTH) >> 12) - (Span / 2);
	uint32_t YStart = ((TargetY * DISPLAY_HEIGHT) >> 12) - (Span / 2);
	uint32_t XStep = (4095 / DISPLAY_WIDTH);
	uint32_t YStep = (4095 / DISPLAY_HEIGHT);
	uint32_t XScale = XStep * (Span / 2);
	uint32_t YScale = YStep * (Span / 2);
	for (int i = 0; i < Span; i++)
	{
		uint32_t CurX = (XStart + i) * XStep;
		uint32_t difference;
		if (CurX > TargetX)
		{
			difference = (CurX - TargetX);
		}
		else
		{
			difference = (TargetX - CurX);
		}
		if (difference >= 127)
		{
			leds[XStart + i].brightness = 0;
		}
		else
		{
			leds[XStart + i].brightness = 127 - difference;
		}
		uint32_t CurY = (YStart + i) * YStep;
		if (CurY > TargetY)
		{
			difference = (CurY - TargetY);
		}
		else
		{
			difference = (TargetY - CurY);
		}
		if (difference >= 127)
		{
			leds[191 - (YStart + i)].brightness = 0;
		}
		else
		{
			leds[191 - (YStart + i)].brightness = 127 - difference;
		}
	}

	for (int i = 0; i < (192 - DISPLAY_WIDTH - DISPLAY_HEIGHT); i++)
	{
		leds[i + DISPLAY_WIDTH].brightness = 0;
	}
	*/
	const static uint8_t MarginX = 10;
	const static uint8_t MarginY = 10;
	uint32_t CenterX = ((TargetX*(DISPLAY_WIDTH - MarginX)) >> 12)+(MarginX/2);
	uint32_t CenterY = (191 - ((TargetY*(DISPLAY_HEIGHT - MarginY)) >> 12))-(MarginY/2);

	switch (Span)
	{
	case 5:	leds[CenterX + 4].brightness = 255;
			leds[CenterX - 4].brightness = 255;
			leds[CenterY + 4].brightness = 255;
			leds[CenterY - 4].brightness = 255;
	case 4: leds[CenterX + 3].brightness = 255;
			leds[CenterX - 3].brightness = 255;
			leds[CenterY + 3].brightness = 255;
			leds[CenterY - 3].brightness = 255;
	case 3: leds[CenterX + 2].brightness = 255;
			leds[CenterX - 2].brightness = 255;
			leds[CenterY + 2].brightness = 255;
			leds[CenterY - 2].brightness = 255;
	case 2:	leds[CenterX+1].brightness = 255;
			leds[CenterX-1].brightness = 255;
			leds[CenterY+1].brightness = 255;
			leds[CenterY-1].brightness = 255;
	case 1:	leds[CenterX].brightness = 255;
			leds[CenterY].brightness = 255;
		break;
	}

	leds[CenterX].brightness = 255;
	leds[CenterY].brightness = 255;

}

void Display_Refresh()
{
	if (playback)
	{
		leds[96].brightness = 255;
	}
	else
	{
		leds[96].brightness = 0;
	}

	if (loop)
	{
		leds[97].brightness = 255;
	}
	else
	{
		leds[97].brightness = 0;
	}
	uint8_t curLED = 0;
	for (int i = 0; i < 4; i++)
	{

		uint8_t reg[24] = { 0, 0, 0, 0, 0, 0, 0, 0, 0, 0, 0, 0, 0, 0, 0, 0, 0, 0, 0, 0, 0, 0, 0, 0 };

		for (int k = 0; k < 48; k++)
		{
			curLED = (48 * i) + k;

			if (leds[curLED].brightness > 0)
			{
				switch (k)
				{
				case 0: reg[0x00] = reg[0x00] | 0b00000011;
						reg[0x02] = reg[0x02] | 0b00000011;
						break;
				case 1: reg[0x04] = reg[0x04] | 0b00000011;
						reg[0x06] = reg[0x06] | 0b00000011;
						break;
				case 2: reg[0x08] = reg[0x08] | 0b00000011;
						reg[0x0A] = reg[0x0A] | 0b00000011;
						break;
				case 3: reg[0x0C] = reg[0x0C] | 0b00000011;
						reg[0x0E] = reg[0x0E] | 0b00000011;
						break;
				case 4: reg[0x10] = reg[0x10] | 0b00000011;
						reg[0x12] = reg[0x12] | 0b00000011;
						break;
				case 5: reg[0x14] = reg[0x14] | 0b00000011;
						reg[0x16] = reg[0x16] | 0b00000011;
						break;

				case 6: reg[0x00] = reg[0x00] | 0b00001100;
					reg[0x02] = reg[0x02] | 0b00001100;
					break;
				case 7: reg[0x04] = reg[0x04] | 0b00001100;
					reg[0x06] = reg[0x06] | 0b00001100;
					break;
				case 8: reg[0x08] = reg[0x08] | 0b00001100;
					reg[0x0A] = reg[0x0A] | 0b00001100;
					break;
				case 9: reg[0x0C] = reg[0x0C] | 0b00001100;
					reg[0x0E] = reg[0x0E] | 0b00001100;
					break;
				case 10: reg[0x10] = reg[0x10] | 0b00001100;
					reg[0x12] = reg[0x12] | 0b00001100;
					break;
				case 11: reg[0x14] = reg[0x14] | 0b00001100;
					reg[0x16] = reg[0x16] | 0b00001100;
					break;

				case 12: reg[0x00] = reg[0x00] | 0b00110000;
					reg[0x02] = reg[0x02] | 0b00110000;
					break;
				case 13: reg[0x04] = reg[0x04] | 0b00110000;
					reg[0x06] = reg[0x06] | 0b00110000;
					break;
				case 14: reg[0x08] = reg[0x08] | 0b00110000;
					reg[0x0A] = reg[0x0A] | 0b00110000;
					break;
				case 15: reg[0x0C] = reg[0x0C] | 0b00110000;
					reg[0x0E] = reg[0x0E] | 0b00110000;
					break;
				case 16: reg[0x10] = reg[0x10] | 0b00110000;
					reg[0x12] = reg[0x12] | 0b00110000;
					break;
				case 17: reg[0x14] = reg[0x14] | 0b00110000;
					reg[0x16] = reg[0x16] | 0b00110000;
					break;

				case 18: reg[0x00] = reg[0x00] | 0b11000000;
					reg[0x02] = reg[0x02] | 0b11000000;
					break;
				case 19: reg[0x04] = reg[0x04] | 0b11000000;
					reg[0x06] = reg[0x06] | 0b11000000;
					break;
				case 20: reg[0x08] = reg[0x08] | 0b11000000;
					reg[0x0A] = reg[0x0A] | 0b11000000;
					break;
				case 21: reg[0x0C] = reg[0x0C] | 0b11000000;
					reg[0x0E] = reg[0x0E] | 0b11000000;
					break;
				case 22: reg[0x10] = reg[0x10] | 0b11000000;
					reg[0x12] = reg[0x12] | 0b11000000;
					break;
				case 23: reg[0x14] = reg[0x14] | 0b11000000;
					reg[0x16] = reg[0x16] | 0b11000000;
					break;

				case 24: reg[0x01] = reg[0x01] | 0b00000011;
					reg[0x03] = reg[0x03] | 0b00000011;
					break;
				case 25: reg[0x05] = reg[0x05] | 0b00000011;
					reg[0x07] = reg[0x07] | 0b00000011;
					break;
				case 26: reg[0x09] = reg[0x09] | 0b00000011;
					reg[0x0B] = reg[0x0B] | 0b00000011;
					break;
				case 27: reg[0x0D] = reg[0x0D] | 0b00000011;
					reg[0x0F] = reg[0x0F] | 0b00000011;
					break;
				case 28: reg[0x11] = reg[0x11] | 0b00000011;
					reg[0x13] = reg[0x13] | 0b00000011;
					break;
				case 29: reg[0x15] = reg[0x15] | 0b00000011;
					reg[0x17] = reg[0x17] | 0b00000011;
					break;

				case 30: reg[0x01] = reg[0x01] | 0b00001100;
					reg[0x03] = reg[0x03] | 0b00001100;
					break;
				case 31: reg[0x05] = reg[0x05] | 0b00001100;
					reg[0x07] = reg[0x07] | 0b00001100;
					break;
				case 32: reg[0x09] = reg[0x09] | 0b00001100;
					reg[0x0B] = reg[0x0B] | 0b00001100;
					break;
				case 33: reg[0x0D] = reg[0x0D] | 0b00001100;
					reg[0x0F] = reg[0x0F] | 0b00001100;
					break;
				case 34: reg[0x11] = reg[0x11] | 0b00001100;
					reg[0x13] = reg[0x13] | 0b00001100;
					break;
				case 35: reg[0x15] = reg[0x15] | 0b00001100;
					reg[0x17] = reg[0x17] | 0b00001100;
					break;

				case 36: reg[0x01] = reg[0x01] | 0b00110000;
					reg[0x03] = reg[0x03] | 0b00110000;
					break;
				case 37: reg[0x05] = reg[0x05] | 0b00110000;
					reg[0x07] = reg[0x07] | 0b00110000;
					break;
				case 38: reg[0x09] = reg[0x09] | 0b00110000;
					reg[0x0B] = reg[0x0B] | 0b00110000;
					break;
				case 39: reg[0x0D] = reg[0x0D] | 0b00110000;
					reg[0x0F] = reg[0x0F] | 0b00110000;
					break;
				case 40: reg[0x11] = reg[0x11] | 0b00110000;
					reg[0x13] = reg[0x13] | 0b00110000;
					break;
				case 41: reg[0x15] = reg[0x15] | 0b00110000;
					reg[0x17] = reg[0x17] | 0b00110000;
					break;

				case 42: reg[0x01] = reg[0x01] | 0b11000000;
					reg[0x03] = reg[0x03] | 0b11000000;
					break;
				case 43: reg[0x05] = reg[0x05] | 0b11000000;
					reg[0x07] = reg[0x07] | 0b11000000;
					break;
				case 44: reg[0x09] = reg[0x09] | 0b11000000;
					reg[0x0B] = reg[0x0B] | 0b11000000;
					break;
				case 45: reg[0x0D] = reg[0x0D] | 0b11000000;
					reg[0x0F] = reg[0x0F] | 0b11000000;
					break;
				case 46: reg[0x11] = reg[0x11] | 0b11000000;
					reg[0x13] = reg[0x13] | 0b11000000;
					break;
				case 47: reg[0x15] = reg[0x15] | 0b11000000;
					reg[0x17] = reg[0x17] | 0b11000000;
					break;
				}
			}

			//if (leds[curLED].brightness != leds[curLED].lastBrightness)
			//{
			//
			//	I2C_WriteRegister(display_address[i], display_pwm_startreg[k], gamma8[leds[curLED].brightness]);
			//	I2C_WriteRegister(display_address[i], display_pwm_startreg[k] + 1, gamma8[leds[curLED].brightness]);
			//	I2C_WriteRegister(display_address[i], display_pwm_startreg[k] + 16, gamma8[leds[curLED].brightness]);
			//	I2C_WriteRegister(display_address[i], display_pwm_startreg[k] + 17, gamma8[leds[curLED].brightness]);

			//	leds[curLED].lastBrightness = leds[curLED].brightness;
			//}
		}

		I2C_WriteRegister(display_address[i], 0xFE, 0XC5);           		//Unlock
		I2C_WriteRegister(display_address[i], 0xFD, 0X00);              	//PG00 LED ON/OFF
		for (int k = 0; k < 24; k++)
		{
			I2C_WriteRegister(display_address[i], k, reg[k]);
		}
	}
}

void Calculate_Smoothing()
{
	//Calculate distance and angle to new point
	double distance = sqrt(pow((double)lastpoint.x - (double)point.x, 2) + pow((double)lastpoint.y - (double)point.y, 2));         //Distance
	double ang = atan2((double)lastpoint.y - (double)point.y, (double)lastpoint.x - (double)point.x);       	// Angle in radians

	//Filter distance travelled with smoothing pot position
	//double coeff = (((double)pots[kSmoothing].value * 2) - (((double)pots[kSmoothing].value*(double)pots[kSmoothing].value) / (double)4095)) / (double)4095;
	if(pots[kSmoothing].value > (4095 - 128))
	{
		pots[kSmoothing].value = (4095 - 128);
	}
	double coeff = (double)pots[kSmoothing].value / (double)4095;
	//double newdist = ((double)lastdistance*(coeff)) + ((double)distance*(1 - (double)coeff));
	double newdist = ((double)distance*(1 - (double)coeff));

	//Move point along angle and distance
	uint32_t newx = (uint32_t)((double)lastpoint.x - (cos(ang) * (double)newdist));
	uint32_t newy = (uint32_t)((double)lastpoint.y - (sin(ang) * (double)newdist));
	uint32_t newz = ((double)point.z*(1 - (double)coeff)) + ((double)lastpoint.z*((double)coeff));

	velocity = distance*2;

	uint32_t newv = ((double)velocity*(1 - (double)coeff)) + ((double)lastvelocity*((double)coeff));

	point.x = newx;
	point.y = newy;
	point.z = newz;
	velocity = newv;

	//Store for next loop
	lastdistance = newdist;
	lastvelocity = velocity;
	lastpoint.x = point.x;
	lastpoint.y = point.y;
	lastpoint.z = point.z;
}

void Calculate_Sensitivity()
{
	float coeff = (float)pots[kSensitivity].value / 4096;
	float z1 = ((float)touchpanel.pressure*(float)touchpanel.pressure) / 4096;
	float z2 = ((float)touchpanel.pressure * 2) - z1;

	float z3 = ((float)z2*(float)z2) / 4096;
	float z4 = ((float)z2 * 2) - z3;

	float z5 = (z1*coeff) + (z2*(1 - coeff));
	touchpanel.pressure = (uint32_t)z5;
}

void Gates_Refresh()
{
	//Write current states to output pins
	if(gates[kGate1Out].value)	{HAL_GPIO_WritePin(GATE2_OUT_GPIO_Port, GATE2_OUT_Pin, GPIO_PIN_SET); }
	else { HAL_GPIO_WritePin(GATE2_OUT_GPIO_Port, GATE2_OUT_Pin, GPIO_PIN_RESET); }
	if (gates[kGate2Out].value)	{HAL_GPIO_WritePin(GATE1_OUT_GPIO_Port, GATE1_OUT_Pin, GPIO_PIN_SET); }
	else { HAL_GPIO_WritePin(GATE1_OUT_GPIO_Port, GATE1_OUT_Pin, GPIO_PIN_RESET); }
}

void DAC_Refresh()
{
	HAL_GPIO_WritePin(DAC_SHDN_GPIO_Port, DAC_SHDN_Pin, GPIO_PIN_SET);
	HAL_GPIO_WritePin(DAC_LDAC_GPIO_Port, DAC_LDAC_Pin, GPIO_PIN_SET);
	uint8_t dacout[2];
	uint8_t mask;
	for (uint32_t i = 0; i < NUM_DACS; i++)
	{
		switch (i)
		{
		case 0 : mask = 0b00110000; HAL_GPIO_WritePin(SPI_CS1_GPIO_Port, SPI_CS1_Pin, GPIO_PIN_RESET); break;
		case 1 : mask = 0b10110000; HAL_GPIO_WritePin(SPI_CS1_GPIO_Port, SPI_CS1_Pin, GPIO_PIN_RESET); break;
		case 2 : mask = 0b00110000; HAL_GPIO_WritePin(SPI_CS2_GPIO_Port, SPI_CS2_Pin, GPIO_PIN_RESET); break;
		case 3 : mask = 0b10110000; HAL_GPIO_WritePin(SPI_CS2_GPIO_Port, SPI_CS2_Pin, GPIO_PIN_RESET); break;
		}

		dacout[0] = (uint8_t)(mask | ((dacs[i].value >> 8)));
		dacout[1] = (uint8_t)(dacs[i].value);

		HAL_SPI_Transmit(&hspi2, dacout, 2, 100);

		switch (i)
		{
		case 0 : HAL_GPIO_WritePin(SPI_CS1_GPIO_Port, SPI_CS1_Pin, GPIO_PIN_SET); break;
		case 1 : HAL_GPIO_WritePin(SPI_CS1_GPIO_Port, SPI_CS1_Pin, GPIO_PIN_SET); break;
		case 2 : HAL_GPIO_WritePin(SPI_CS2_GPIO_Port, SPI_CS2_Pin, GPIO_PIN_SET); break;
		case 3 : HAL_GPIO_WritePin(SPI_CS2_GPIO_Port, SPI_CS2_Pin, GPIO_PIN_SET); break;
		}

	}

	HAL_GPIO_WritePin(DAC_LDAC_GPIO_Port, DAC_LDAC_Pin, GPIO_PIN_RESET);
}

void Pots_Poll(void)
{
	HAL_ADC_Start(&hadc1);
	for (uint32_t i = 0; i < NUM_POTENTIOMETERS; i++)
	{
		HAL_ADC_PollForConversion(&hadc1, 10);
		pots[i].value = ((4095 - ((HAL_ADC_GetValue(&hadc1)*POTENTIOMETER_ADC_MAX) >> 11)) + pots[i].value) >> 1;
	}
	HAL_ADC_Stop(&hadc1);
}

void Buttons_Poll(void)
{
	//Store previous values
	for(uint32_t i = 0 ; i < NUM_BUTTONS ; i++)
	{
		buttons[i].last = buttons[i].value;
	}

	//Read new values
	if(HAL_GPIO_ReadPin(SW0_GPIO_Port, SW0_Pin))  { buttons[kRecord].value = 0; }
	else {	buttons[kRecord].value = 1; }
	if (HAL_GPIO_ReadPin(SW1_GPIO_Port, SW1_Pin))  { buttons[kGate1].value = 0; }
	else {	buttons[kGate1].value = 1; }
	if (HAL_GPIO_ReadPin(SW2_GPIO_Port, SW2_Pin))  { buttons[kConstrain].value = 0; }
	else {	buttons[kConstrain].value = 1; }
	if (HAL_GPIO_ReadPin(SW3_GPIO_Port, SW3_Pin))  { buttons[kGate2].value = 0; }
	else {	buttons[kGate2].value = 1; }
	if (HAL_GPIO_ReadPin(SW4_GPIO_Port, SW4_Pin))  { buttons[kPlay].value = 0; }
	else {	buttons[kPlay].value = 1; }
	if (HAL_GPIO_ReadPin(SW5_GPIO_Port, SW5_Pin))  { buttons[kLoop].value = 0; }
	else {	buttons[kLoop].value = 1; }
	if (HAL_GPIO_ReadPin(TRIG_IN_GPIO_Port, TRIG_IN_Pin))  { buttons[kTriggerIn].value = 1; }
	else {	buttons[kTriggerIn].value = 0; }

	//Rising and falling edge flag detection
	for(uint32_t i = 0 ; i < NUM_BUTTONS ; i++)
	{
		if (!buttons[i].last && buttons[i].value)  { buttons[i].rising = 1; }
		else if (buttons[i].last && !buttons[i].value)  { buttons[i].falling = 1; }
	}

}

void StartupAnimation(void)
{

	for (uint32_t i = 0; i < ((DISPLAY_WIDTH+DISPLAY_HEIGHT)/2); i++)
	{

		if (i < (DISPLAY_WIDTH/2))
		{
			leds[i].brightness = 255;
			leds[DISPLAY_WIDTH-i].brightness = 255;
		}
		else
		{
			leds[191-((i-(DISPLAY_WIDTH/2)))].brightness = 255;
			leds[(191 - DISPLAY_HEIGHT) + (i - (DISPLAY_WIDTH/2))].brightness = 255;
		}
		Display_Refresh();
	}
	for (uint32_t i = 0; i < ((DISPLAY_WIDTH + DISPLAY_HEIGHT) / 2); i++)
	{

		if (i < (DISPLAY_WIDTH / 2))
		{
			leds[i].brightness = 0;
			leds[DISPLAY_WIDTH - i].brightness = 0;
		}
		else
		{
			leds[191 - ((i - (DISPLAY_WIDTH / 2)))].brightness = 0;
			leds[(191 - DISPLAY_HEIGHT) + (i - (DISPLAY_WIDTH / 2))].brightness = 0;
		}

		Display_Refresh();
	}
	Display_Crosshair(0, 0, 1);
	Display_Refresh();
}

void Touchpanel_Poll(void)
{

	uint8_t cmd[1] = { 0 };
	uint8_t data[2] = { 0, 0 };

	for (uint32_t j = 0; j < 4; j++)
	{
		for (uint32_t i = 0; i < 1; i++)
		{
			switch (j)
			{
			case 0: cmd[0] = { 0b11010001 }; break;
			case 1: cmd[0] = { 0b10010001 }; break;
			case 2: cmd[0] = { 0b10110001 }; break;
			case 3: cmd[0] = { 0b11000001 }; break;
			}

			HAL_GPIO_WritePin(SPI_CS0_GPIO_Port, SPI_CS0_Pin, GPIO_PIN_RESET);
			HAL_SPI_Transmit(&hspi2, cmd, 1, 100);
			while (HAL_GPIO_ReadPin(TP_BUSY_GPIO_Port, TP_BUSY_Pin)) {}
			HAL_Delay(5);
			HAL_SPI_Receive(&hspi2, data, 2, 100);
			HAL_GPIO_WritePin(SPI_CS0_GPIO_Port, SPI_CS0_Pin, GPIO_PIN_SET);
			HAL_Delay(1);

			switch (j)
			{
			case 0: tempx[i] = (data[0] << 5) | (data[1] >> 3); break;
			case 1: tempy[i] = (data[0] << 5) | (data[1] >> 3); break;
			case 2 : tempz1[i] = (data[0] << 5) | (data[1] >> 3); break;
			case 3 : tempz2[i] = (data[0] << 5) | (data[1] >> 3); break;
			}
		}
	}

	sample_x = tempy[0];
	sample_y = tempx[0];
	sample_z1 = tempz1[0];
	sample_z2 = tempz2[0];

	//rtouch = (4095 - (sample_z2 - sample_z1) - (pots[kSensitivity].value>>1));
	rtouch = (4095 - (sample_z2 - sample_z1) - 256);

	POINT display;
	POINT screenSample;
	screenSample.x = (sample_x >> 2) & 1023;
	screenSample.y = (sample_y >> 2) & 1023;

	getDisplayPoint(&display, &screenSample, &calmatrix);

	if (display.x > 1023)
	{
		display.x = 1023;
	}
	if (display.y > 1023)
	{
		display.y = 1023;
	}
	if (display.x < 0)
	{
		display.x = 0;
	}
	if (display.y < 0)
	{
		display.y = 0;
	}

	double PressureScaleY = 4096.0 / (double)CalZ1;
	double PressureScaleX = 4096.0 / (double)CalZ2;
	double PressureBaseScale = 4096.0 / (double)CalZ3;

	double ScaleX = (double)display.x / 1024.0;
	double ScaleY = (double)display.y / 1024.0;

	double pressureX = (double)rtouch*(double)PressureScaleX;
	double pressureY = (double)rtouch*(double)PressureScaleY;
	double pressureBase = (double)rtouch*(double)PressureBaseScale;

	double YCorrected = ((1 - ScaleY)*pressureBase) + ((ScaleY)*pressureY);
	double XCorrected = ((1 - ScaleX)*YCorrected) + ((ScaleX)*pressureX);
	XCorrected = XCorrected - (4095-pots[kSensitivity].value);

	if (XCorrected > 4095)
	{
		XCorrected = 4095;
	}

	if (XCorrected > 0)
	{
		pentouch = 1;
	}
	else
	{
		pentouch = 0;
	}

	if(pentouch && sample_x<CalX3 && sample_x > CalX2 && sample_y<CalY3 && sample_y>CalY1)
	{
		pentouch = 1;
		touchpanel.x = (uint32_t)(display.x << 2);
		touchpanel.y = (uint32_t)(display.y << 2);
		touchpanel.pressure = (uint32_t)XCorrected;
	}  else {
		pentouch = 0;
		touchpanel.pressure = 0;
	}
}

/* USER CODE END 4 */

void _Error_Handler(char *file, int line)
{
	while (1)
	{
	}
}

/************************ (C) COPYRIGHT STMicroelectronics *****END OF FILE****/
